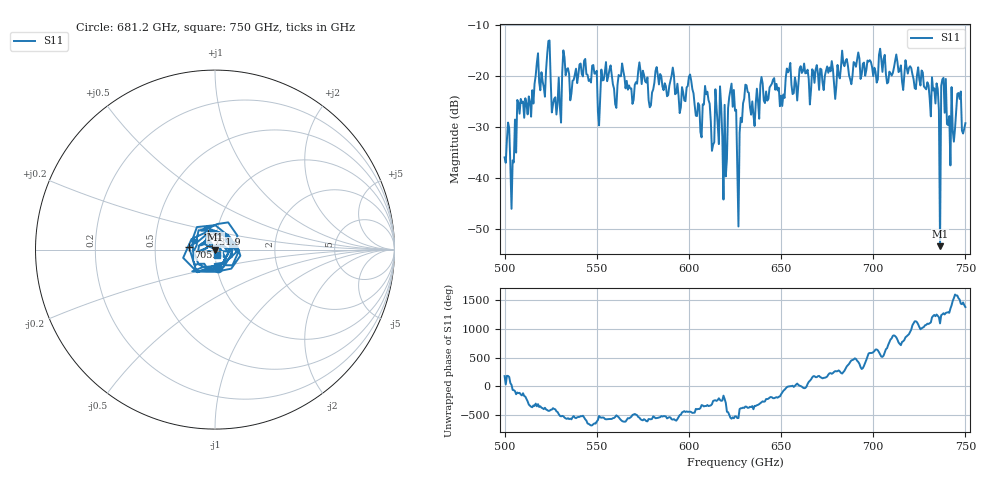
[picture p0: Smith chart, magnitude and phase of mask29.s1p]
!Created with skrf (http://scikit-rf.org).
# GHz S MA R 50.0
!freq magS11 angS11
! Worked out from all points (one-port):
!   401 points, 500 GHz to 750 GHz, reference 50 ohm
!   lowest |S11| = -53.4 dB at 736.2 GHz (marker M1), VSWR 1.00, Z = 50.2 + j0.0376 ohm
!   |S11| at or under -10 dB: start of sweep to end of sweep
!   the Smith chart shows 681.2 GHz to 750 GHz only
!   S11 on the Smith chart (normalised r, x): 681.2 GHz: 1.01, -0.20; 705.6 GHz: 0.75, +0.02; 731.9 GHz: 0.91, +0.16; 750 GHz: 1.02, -0.06
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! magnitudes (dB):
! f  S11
! 500 GHz  -36.0
! 505 GHz  -37.0
! 508.1 GHz  -27.5
! 517.5 GHz  -17.5
! 523.8 GHz  -13.2
! 526.9 GHz  -24.6
! 531.2 GHz  -19.4
! 562.5 GHz  -20.1
! 593.8 GHz  -21.6
! 600.6 GHz  -19.8
! 605.6 GHz  -25.8
! 610 GHz  -23.2
! 619.4 GHz  -25.7
! 622.5 GHz  -22.9
! 625 GHz  -26.9
! 627.5 GHz  -31.2
! 631.2 GHz  -21.9
! 656.2 GHz  -23.6
! 681.2 GHz  -19.9
! 687.5 GHz  -20.7
! 705.6 GHz  -16.7
! 718.8 GHz  -19.6
! 731.9 GHz  -20.3
! 736.2 GHz  -53.4
! 738.1 GHz  -20.4
! 743.1 GHz  -30.7
! 746.2 GHz  -23.4
! 750 GHz  -29.3
